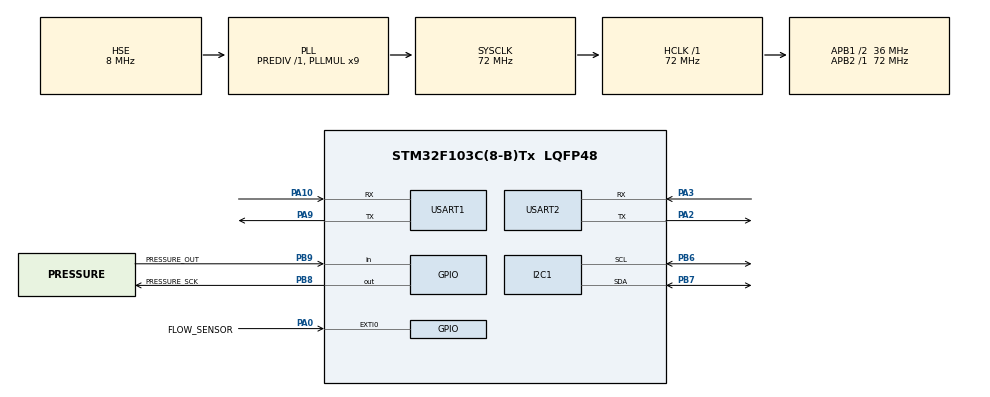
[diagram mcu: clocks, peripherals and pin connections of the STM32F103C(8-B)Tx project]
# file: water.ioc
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Mcu.Family=STM32F1
Mcu.Name=STM32F103C(8-B)Tx
Mcu.Package=LQFP48
NVIC.PriorityGroup=NVIC_PRIORITYGROUP_4
PA0-WKUP.GPIO_Label=FLOW_SENSOR
PA0-WKUP.GPIO_ModeDefaultEXTI=GPIO_MODE_IT_FALLING
PA0-WKUP.GPIO_PuPd=GPIO_PULLUP
PA0-WKUP.Signal=GPXTI0
PA1.Signal=ADCx_IN1
PA10.Mode=Asynchronous
PA10.Signal=USART1_RX
PA13.Mode=Serial_Wire
PA13.Signal=SYS_JTMS-SWDIO
PA14.Mode=Serial_Wire
PA14.Signal=SYS_JTCK-SWCLK
PA2.Mode=Asynchronous
PA2.Signal=USART2_TX
PA3.Mode=Asynchronous
PA3.Signal=USART2_RX
PA9.Mode=Asynchronous
PA9.Signal=USART1_TX
PB8.GPIO_Label=PRESSURE_SCK
PB8.GPIO_Speed=GPIO_SPEED_FREQ_LOW
PB8.PinState=GPIO_PIN_RESET
PB8.Signal=GPIO_Output
PB9.GPIO_Label=PRESSURE_OUT
PB9.GPIO_PuPd=GPIO_NOPULL
PB9.Signal=GPIO_Input
PB6.Mode=I2C
PB6.Signal=I2C1_SCL
PB7.Mode=I2C
PB7.Signal=I2C1_SDA
PC14-OSC32_IN.Mode=LSE-External-Oscillator
PC14-OSC32_IN.Signal=RCC_OSC32_IN
PC15-OSC32_OUT.Mode=LSE-External-Oscillator
PC15-OSC32_OUT.Signal=RCC_OSC32_OUT
PD0-OSC_IN.Mode=HSE-External-Oscillator
PD0-OSC_IN.Signal=RCC_OSC_IN
PD1-OSC_OUT.Mode=HSE-External-Oscillator
PD1-OSC_OUT.Signal=RCC_OSC_OUT
ProjectManager.HeapSize=0x200
ProjectManager.StackSize=0x400
ProjectManager.TargetToolchain=MDK-ARM V5.32
RCC.AHBFreq_Value=72000000
RCC.APB1CLKDivider=RCC_HCLK_DIV2
RCC.APB1Freq_Value=36000000
RCC.APB1TimFreq_Value=72000000
RCC.APB2Freq_Value=72000000
RCC.APB2TimFreq_Value=72000000
RCC.HCLKFreq_Value=72000000
RCC.PLLMUL=RCC_PLL_MUL9
RCC.PLLSourceVirtual=RCC_PLLSOURCE_HSE
RCC.SYSCLKFreq_VALUE=72000000
RCC.SYSCLKSource=RCC_SYSCLKSOURCE_PLLCLK
RCC.USBFreq_Value=72000000
USART1.VirtualMode=VM_ASYNC
USART2.VirtualMode=VM_ASYNC
board=custom

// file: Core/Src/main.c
/* USER CODE BEGIN Header */
/**
  ******************************************************************************
  * @file           : main.c
  * @brief          : Main program body
  ******************************************************************************
  * @attention
  *
  * Copyright (c) 2026 STMicroelectronics.
  * All rights reserved.
  *
  * This software is licensed under terms that can be found in the LICENSE file
  * in the root directory of this software component.
  * If no LICENSE file comes with this software, it is provided AS-IS.
  *
  ******************************************************************************
  */
/* USER CODE END Header */
#include "main.h"
#include "i2c.h"
#include "usart.h"
#include "gpio.h"
#include "Inf_HX710.h"

/* USER CODE BEGIN Includes */
#include <stdarg.h>
#include <stdio.h>
#include <string.h>
#include <stdlib.h>

/* USER CODE END Includes */

/* USER CODE BEGIN PTD */
typedef struct
{
  uint8_t online;
  uint8_t who_am_i;
  int16_t accel_x;
  int16_t accel_y;
  int16_t accel_z;
  int16_t gyro_x;
  int16_t gyro_y;
  int16_t gyro_z;
  int16_t temperature_raw;
} mpu6050_data_t;

/* USER CODE END PTD */

/* USER CODE BEGIN PD */
#define DEBUG_UART_TIMEOUT_MS      100U
#define MPU6050_I2C_ADDR_LOW       (0x68U << 1)
#define MPU6050_I2C_ADDR_HIGH      (0x69U << 1)
#define MPU6050_REG_WHO_AM_I       0x75U
#define MPU6050_REG_PWR_MGMT_1     0x6BU
#define MPU6050_REG_ACCEL_XOUT_H   0x3BU
#define SENSOR_PRINT_PERIOD_MS     1000U
#define LORA_RX_BUFFER_SIZE        64U
#define TDS_K_VALUE                1.0f
#define LORA_TX_TIMEOUT_MS         200U
#define FLOW_PULSES_PER_LITER      450.0f
#define HX710_INVALID_STREAK_LIMIT  3U
#define PRESSURE_ENABLE_BOOT_ZERO   1U
#define PRESSURE_ENABLE_RUNTIME_ZERO 1U
#define PRESSURE_BOOT_ZERO_SAMPLES  8U
#define PRESSURE_FIXED_ZERO_OFFSET  0L
/*
 * Bring-up scale only. Keep this as an approximate factor until the hardware
 * path is stable, then tune with measured water height.
 */
#define PRESSURE_LEVEL_CM_PER_COUNT 0.00025f

/* USER CODE END PD */

/* USER CODE BEGIN PV */
static uint8_t s_mpu6050_online = 0U;
static uint16_t s_mpu6050_addr = MPU6050_I2C_ADDR_LOW;
static uint8_t s_mpu6050_who_am_i = 0U;
static uint32_t s_mpu6050_last_error = 0U;
static char s_lora_line[LORA_RX_BUFFER_SIZE];
static uint8_t s_lora_line_len = 0U;
static volatile uint32_t s_flow_pulse_count = 0U;
static uint32_t s_flow_last_sample_pulse_count = 0U;
static float s_total_flow_l = 0.0f;
static float s_instant_flow_lpm = 0.0f;
static int32_t s_pressure_last_valid_raw = PRESSURE_FIXED_ZERO_OFFSET;
static uint8_t s_pressure_last_valid_ready = 0U;
static uint8_t s_pressure_invalid_streak = 0U;
static int32_t s_pressure_zero_offset = PRESSURE_FIXED_ZERO_OFFSET;
static uint8_t s_pressure_zero_valid = 0U;
/* USER CODE END PV */

void SystemClock_Config(void);
/* USER CODE BEGIN PFP */
static void debug_printf(const char *fmt, ...);
static void adc1_init(void);
static uint16_t adc1_read_channel(uint32_t channel);
static uint32_t adc_to_millivolts(uint16_t raw);
static float tds_voltage_to_ppm(float voltage, float temperature_celsius);
static void i2c_scan_bus(void);
static HAL_StatusTypeDef mpu6050_write_byte(uint16_t dev_addr, uint8_t reg, uint8_t value);
static HAL_StatusTypeDef mpu6050_read_bytes(uint16_t dev_addr, uint8_t reg, uint8_t *data, uint16_t size);
static uint8_t mpu6050_init(void);
static uint8_t mpu6050_read_data(mpu6050_data_t *data);
static uint8_t pressure_read_raw(int32_t *raw_value);
static uint8_t pressure_capture_zero(void);
static float pressure_raw_to_water_level_cm(int32_t raw_value);
static void pressure_set_zero_offset(int32_t raw_value, const char *source);
static int16_t clamp_to_i16(int32_t value);
static float clamp_non_negative(float value);
static int32_t estimate_pitch_angle(const mpu6050_data_t *data);
static int32_t estimate_roll_angle(const mpu6050_data_t *data);
static int32_t estimate_yaw_angle(const mpu6050_data_t *data);
static float flow_pulses_to_liters(uint32_t pulses);
static void flow_sensor_update(uint32_t elapsed_ms);
static void lora_send_packet_line(float water_level, float tds_value,
                                  float total_flow, float instant_flow,
                                  float pitch_angle, float roll_angle, float yaw_angle);
static void lora_poll_and_log(void);

/* USER CODE END PFP */

/* USER CODE BEGIN 0 */
static void debug_printf(const char *fmt, ...)
{
  char buffer[256];
  va_list args;
  va_start(args, fmt);
  int length = vsnprintf(buffer, sizeof(buffer), fmt, args);
  va_end(args);

  if (length <= 0) {
    return;
  }

  if (length >= (int)sizeof(buffer)) {
    length = (int)sizeof(buffer) - 1;
  }

  HAL_UART_Transmit(&huart1, (uint8_t *)buffer, (uint16_t)length, DEBUG_UART_TIMEOUT_MS);
}

static void adc1_init(void)
{
  __HAL_RCC_ADC1_CLK_ENABLE();

  ADC1->CR1 = 0U;
  ADC1->CR2 = 0U;
  ADC1->SMPR2 = ADC_SMPR2_SMP0 | ADC_SMPR2_SMP1;

  MODIFY_REG(RCC->CFGR, RCC_CFGR_ADCPRE, RCC_CFGR_ADCPRE_DIV6);

  ADC1->CR2 |= ADC_CR2_ADON;
  HAL_Delay(1);

  ADC1->CR2 |= ADC_CR2_RSTCAL;
  while ((ADC1->CR2 & ADC_CR2_RSTCAL) != 0U) {
  }

  ADC1->CR2 |= ADC_CR2_CAL;
  while ((ADC1->CR2 & ADC_CR2_CAL) != 0U) {
  }
}

static uint16_t adc1_read_channel(uint32_t channel)
{
  ADC1->SQR1 = 0U;
  ADC1->SQR2 = 0U;
  ADC1->SQR3 = channel;
  ADC1->SR = 0U;
  ADC1->CR2 |= ADC_CR2_ADON;
  ADC1->CR2 |= ADC_CR2_SWSTART;

  while ((ADC1->SR & ADC_SR_EOC) == 0U) {
  }

  return (uint16_t)ADC1->DR;
}

static uint32_t adc_to_millivolts(uint16_t raw)
{
  return ((uint32_t)raw * 3300U) / 4095U;
}

static float tds_voltage_to_ppm(float voltage, float temperature_celsius)
{
  float compensation_coefficient = 1.0f + 0.02f * (temperature_celsius - 25.0f);
  float compensation_voltage = voltage / compensation_coefficient;
  float tds_value = (133.42f * compensation_voltage * compensation_voltage * compensation_voltage
                   - 255.86f * compensation_voltage * compensation_voltage
                   + 857.39f * compensation_voltage) * 0.5f;
  return tds_value * TDS_K_VALUE;
}

static void i2c_scan_bus(void)
{
  debug_printf("[I2C] scan start\r\n");
  for (uint8_t addr = 0x08U; addr < 0x78U; ++addr) {
    if (HAL_I2C_IsDeviceReady(&hi2c1, (uint16_t)(addr << 1), 2, 20) == HAL_OK) {
      debug_printf("[I2C] found 0x%02X\r\n", addr);
    }
  }
  debug_printf("[I2C] scan end\r\n");
}

static HAL_StatusTypeDef mpu6050_write_byte(uint16_t dev_addr, uint8_t reg, uint8_t value)
{
  HAL_StatusTypeDef status = HAL_I2C_Mem_Write(&hi2c1, dev_addr, reg, I2C_MEMADD_SIZE_8BIT, &value, 1, 100);
  s_mpu6050_last_error = HAL_I2C_GetError(&hi2c1);
  return status;
}

static HAL_StatusTypeDef mpu6050_read_bytes(uint16_t dev_addr, uint8_t reg, uint8_t *data, uint16_t size)
{
  HAL_StatusTypeDef status = HAL_I2C_Mem_Read(&hi2c1, dev_addr, reg, I2C_MEMADD_SIZE_8BIT, data, size, 100);
  s_mpu6050_last_error = HAL_I2C_GetError(&hi2c1);
  return status;
}

static uint8_t mpu6050_init(void)
{
  uint8_t who_am_i = 0U;
  const uint16_t candidate_addrs[2] = {MPU6050_I2C_ADDR_LOW, MPU6050_I2C_ADDR_HIGH};

  for (uint8_t i = 0U; i < 2U; ++i) {
    uint16_t dev_addr = candidate_addrs[i];

    if (HAL_I2C_IsDeviceReady(&hi2c1, dev_addr, 2, 50) != HAL_OK) {
      s_mpu6050_last_error = HAL_I2C_GetError(&hi2c1);
      continue;
    }

    if (mpu6050_read_bytes(dev_addr, MPU6050_REG_WHO_AM_I, &who_am_i, 1) != HAL_OK) {
      continue;
    }

    s_mpu6050_addr = dev_addr;
    s_mpu6050_who_am_i = who_am_i;

    if (mpu6050_write_byte(dev_addr, MPU6050_REG_PWR_MGMT_1, 0x00U) != HAL_OK) {
      continue;
    }

    HAL_Delay(50);

    return 1U;
  }

  return 0U;
}

static uint8_t mpu6050_read_data(mpu6050_data_t *data)
{
  uint8_t raw_data[14];

  if (mpu6050_read_bytes(s_mpu6050_addr, MPU6050_REG_ACCEL_XOUT_H, raw_data, sizeof(raw_data)) != HAL_OK) {
    return 0U;
  }

  data->online = 1U;
  data->who_am_i = s_mpu6050_who_am_i;
  data->accel_x = (int16_t)((raw_data[0] << 8) | raw_data[1]);
  data->accel_y = (int16_t)((raw_data[2] << 8) | raw_data[3]);
  data->accel_z = (int16_t)((raw_data[4] << 8) | raw_data[5]);
  data->temperature_raw = (int16_t)((raw_data[6] << 8) | raw_data[7]);
  data->gyro_x = (int16_t)((raw_data[8] << 8) | raw_data[9]);
  data->gyro_y = (int16_t)((raw_data[10] << 8) | raw_data[11]);
  data->gyro_z = (int16_t)((raw_data[12] << 8) | raw_data[13]);

  return 1U;
}

static uint8_t pressure_read_raw(int32_t *raw_value)
{
  if (Inf_HX710_ReadRaw(raw_value)) {
    s_pressure_last_valid_raw = *raw_value;
    s_pressure_last_valid_ready = 1U;
    s_pressure_invalid_streak = 0U;
    return 1U;
  }

  if (s_pressure_invalid_streak < 0xFFU) {
    s_pressure_invalid_streak++;
  }

  if (s_pressure_last_valid_ready && s_pressure_invalid_streak < HX710_INVALID_STREAK_LIMIT) {
    debug_printf("[PRESSURE] read timeout, reuse last raw=%ld streak=%u\r\n",
                 (long)s_pressure_last_valid_raw,
                 (unsigned int)s_pressure_invalid_streak);
    *raw_value = s_pressure_last_valid_raw;
    return 1U;
  }

  return 0U;
}

static uint8_t pressure_capture_zero(void)
{
  int64_t sum = 0;
  uint8_t success_count = 0U;
  int32_t sample = 0;

  for (uint8_t i = 0U; i < PRESSURE_BOOT_ZERO_SAMPLES; ++i) {
    if (!pressure_read_raw(&sample)) {
      break;
    }
    sum += sample;
    success_count++;
  }

  if (success_count == 0U) {
    s_pressure_zero_valid = 0U;
    return 0U;
  }

  pressure_set_zero_offset((int32_t)(sum / (int64_t)success_count), "boot");
  debug_printf("[PRESSURE] boot zero samples=%u scale=%.6f cm/count\r\n",
               (unsigned int)success_count,
               (double)PRESSURE_LEVEL_CM_PER_COUNT);

  return 1U;
}

static void pressure_set_zero_offset(int32_t raw_value, const char *source)
{
  s_pressure_zero_offset = raw_value;
  s_pressure_zero_valid = 1U;

  debug_printf("[PRESSURE] %s zero captured raw=%ld\r\n",
               source,
               (long)s_pressure_zero_offset);
}

static float pressure_raw_to_water_level_cm(int32_t raw_value)
{
  int32_t baseline = s_pressure_zero_valid ? s_pressure_zero_offset : PRESSURE_FIXED_ZERO_OFFSET;
  float corrected_counts = (float)(raw_value - baseline);
  return clamp_non_negative(corrected_counts * PRESSURE_LEVEL_CM_PER_COUNT);
}

static int16_t clamp_to_i16(int32_t value)
{
  if (value > 32767) {
    return 32767;
  }
  if (value < -32768) {
    return -32768;
  }
  return (int16_t)value;
}

static float clamp_non_negative(float value)
{
  return value < 0.0f ? 0.0f : value;
}

static int32_t estimate_pitch_angle(const mpu6050_data_t *data)
{
  return (int32_t)(clamp_to_i16(data->accel_x) / 182);
}

static int32_t estimate_roll_angle(const mpu6050_data_t *data)
{
  return (int32_t)(clamp_to_i16(data->accel_y) / 182);
}

static int32_t estimate_yaw_angle(const mpu6050_data_t *data)
{
  return (int32_t)(clamp_to_i16(data->gyro_z) / 16);
}

static float flow_pulses_to_liters(uint32_t pulses)
{
  return (float)pulses / FLOW_PULSES_PER_LITER;
}

static void flow_sensor_update(uint32_t elapsed_ms)
{
  uint32_t total_pulses = s_flow_pulse_count;
  uint32_t delta_pulses = total_pulses - s_flow_last_sample_pulse_count;
  float elapsed_seconds = (float)elapsed_ms / 1000.0f;

  s_flow_last_sample_pulse_count = total_pulses;
  s_total_flow_l = flow_pulses_to_liters(total_pulses);

  if (elapsed_seconds > 0.0f) {
    s_instant_flow_lpm = (flow_pulses_to_liters(delta_pulses) / elapsed_seconds) * 60.0f;
  } else {
    s_instant_flow_lpm = 0.0f;
  }
}

static void lora_send_packet_line(float water_level, float tds_value,
                                  float total_flow, float instant_flow,
                                  float pitch_angle, float roll_angle, float yaw_angle)
{
  char packet[192];
  int length = snprintf(packet, sizeof(packet),
                        "water_level=%.2f,tds=%.2f,total_flow=%.6f,instant_flow=%.6f,pitch=%.2f,roll=%.2f,yaw=%.2f\r\n",
                        (double)water_level, (double)tds_value,
                        (double)total_flow, (double)instant_flow,
                        (double)pitch_angle, (double)roll_angle, (double)yaw_angle);

  if (length <= 0) {
    return;
  }

  if (length >= (int)sizeof(packet)) {
    length = (int)sizeof(packet) - 1;
  }

  HAL_UART_Transmit(&huart2, (uint8_t *)packet, (uint16_t)length, LORA_TX_TIMEOUT_MS);
  debug_printf("[LORA-TX] %s", packet);
}

static void lora_poll_and_log(void)
{
  uint8_t byte = 0U;

  while (HAL_UART_Receive(&huart2, &byte, 1, 2) == HAL_OK) {
    if (byte == '\r') {
      continue;
    }

    if (byte == '\n') {
      if (s_lora_line_len > 0U) {
        s_lora_line[s_lora_line_len] = '\0';
        debug_printf("[LORA] RX=\"%s\"\r\n", s_lora_line);
        s_lora_line_len = 0U;
      }
      continue;
    }

    if (s_lora_line_len < (LORA_RX_BUFFER_SIZE - 1U)) {
      s_lora_line[s_lora_line_len++] = (char)byte;
    } else {
      s_lora_line[s_lora_line_len] = '\0';
      debug_printf("[LORA] line too long, partial=\"%s\"\r\n", s_lora_line);
      s_lora_line_len = 0U;
    }
  }
}

/* USER CODE END 0 */

int main(void)
{

  /* MCU Configuration--------------------------------------------------------*/

  /* Reset of all peripherals, Initializes the Flash interface and the Systick. */
  HAL_Init();

  /* Configure the system clock */
  SystemClock_Config();

  /* Initialize all configured peripherals */
  MX_GPIO_Init();
  MX_I2C1_Init();
  MX_USART1_UART_Init();
  MX_USART2_UART_Init();
  /* USER CODE BEGIN 2 */
  adc1_init();
  i2c_scan_bus();
  s_mpu6050_online = mpu6050_init();
  Inf_HX710_Init();
#if PRESSURE_ENABLE_BOOT_ZERO
  if (!pressure_capture_zero()) {
    debug_printf("[PRESSURE] boot zero capture failed, using fixed offset=%ld\r\n",
                 (long)PRESSURE_FIXED_ZERO_OFFSET);
  }
#endif

  debug_printf("\r\nwater board boot\r\n");
  debug_printf("USART1=115200 for debug, USART2=9600 for LoRa\r\n");
  if (s_mpu6050_online) {
    debug_printf("IMU: online addr=0x%02X who_am_i=0x%02X\r\n",
                 (unsigned int)(s_mpu6050_addr >> 1),
                 (unsigned int)s_mpu6050_who_am_i);
  } else {
    debug_printf("IMU: not found err=0x%08lX\r\n", (unsigned long)s_mpu6050_last_error);
  }

  /* USER CODE END 2 */

  /* Infinite loop */
  while (1)
  {

    /* USER CODE BEGIN 3 */
    static uint32_t last_print_tick = 0U;
    uint32_t now = HAL_GetTick();

    lora_poll_and_log();

    if ((now - last_print_tick) >= SENSOR_PRINT_PERIOD_MS) {
      uint32_t elapsed_ms = now - last_print_tick;
      uint16_t pa1_raw = adc1_read_channel(1U);
      uint32_t pa1_mv = adc_to_millivolts(pa1_raw);
      mpu6050_data_t mpu = {0};
      int32_t pressure_raw = 0;
      int32_t pressure_delta = 0;
      uint8_t pressure_ready = pressure_read_raw(&pressure_raw);
#if PRESSURE_ENABLE_RUNTIME_ZERO
      if (pressure_ready && !s_pressure_zero_valid) {
        pressure_set_zero_offset(pressure_raw, "runtime");
      }
#endif
      uint8_t mpu_ready = s_mpu6050_online ? mpu6050_read_data(&mpu) : 0U;
      float water_temperature_c = 25.0f;
      float tds_voltage = (float)pa1_mv / 1000.0f;
      float tds_ppm = tds_voltage_to_ppm(tds_voltage, water_temperature_c);
      float pitch_angle = mpu_ready ? (float)estimate_pitch_angle(&mpu) : 0.0f;
      float roll_angle = mpu_ready ? (float)estimate_roll_angle(&mpu) : 0.0f;
      float yaw_angle = mpu_ready ? (float)estimate_yaw_angle(&mpu) : 0.0f;
      pressure_delta = pressure_ready ? (pressure_raw - (s_pressure_zero_valid ? s_pressure_zero_offset : PRESSURE_FIXED_ZERO_OFFSET)) : 0;
      float water_level = pressure_ready ? pressure_raw_to_water_level_cm(pressure_raw) : 0.0f;
      float tds_value = tds_ppm;
      flow_sensor_update(elapsed_ms);

      debug_printf("[SENSOR] t=%lu ms FLOW_PULSE=%lu FLOW_TOTAL=%.3f L FLOW_INSTANT=%.3f L/min TDS_AO=%u (%lu mV, %.1f ppm@25C) PRESS_OUT=%u PRESS_READY=%u PRESS_RAW=%ld PRESS_ZERO_VALID=%u PRESS_ZERO=%ld PRESS_DELTA=%ld WATER_LEVEL=%.2f cm\r\n",
                   (unsigned long)now,
                   (unsigned long)s_flow_pulse_count,
                   (double)s_total_flow_l,
                   (double)s_instant_flow_lpm,
                   (unsigned int)pa1_raw,
                   (unsigned long)pa1_mv,
                   (double)tds_ppm,
                   (unsigned int)(HAL_GPIO_ReadPin(PRESSURE_OUT_GPIO_Port, PRESSURE_OUT_Pin) == GPIO_PIN_SET),
                   (unsigned int)pressure_ready,
                   (long)pressure_raw,
                   (unsigned int)s_pressure_zero_valid,
                   (long)(s_pressure_zero_valid ? s_pressure_zero_offset : PRESSURE_FIXED_ZERO_OFFSET),
                   (long)pressure_delta,
                   (double)water_level);

      if (mpu_ready) {
        debug_printf("[MPU6050] addr=0x%02X who=0x%02X AX=%d AY=%d AZ=%d GX=%d GY=%d GZ=%d TEMP_RAW=%d\r\n",
                     (unsigned int)(s_mpu6050_addr >> 1),
                     (unsigned int)mpu.who_am_i,
                     mpu.accel_x, mpu.accel_y, mpu.accel_z,
                     mpu.gyro_x, mpu.gyro_y, mpu.gyro_z,
                     mpu.temperature_raw);
      } else {
        debug_printf("[MPU6050] read failed addr=0x%02X err=0x%08lX\r\n",
                     (unsigned int)(s_mpu6050_addr >> 1),
                     (unsigned long)s_mpu6050_last_error);
      }

      lora_send_packet_line(water_level, tds_value, s_total_flow_l, s_instant_flow_lpm,
                            pitch_angle, roll_angle, yaw_angle);

      last_print_tick = now;
    }
  }
  /* USER CODE END 3 */
}

void SystemClock_Config(void)
{
  RCC_OscInitTypeDef RCC_OscInitStruct = {0};
  RCC_ClkInitTypeDef RCC_ClkInitStruct = {0};

  /** Initializes the RCC Oscillators according to the specified parameters
  * in the RCC_OscInitTypeDef structure.
  */
  RCC_OscInitStruct.OscillatorType = RCC_OSCILLATORTYPE_HSE;
  RCC_OscInitStruct.HSEState = RCC_HSE_ON;
  RCC_OscInitStruct.HSEPredivValue = RCC_HSE_PREDIV_DIV1;
  RCC_OscInitStruct.HSIState = RCC_HSI_ON;
  RCC_OscInitStruct.PLL.PLLState = RCC_PLL_ON;
  RCC_OscInitStruct.PLL.PLLSource = RCC_PLLSOURCE_HSE;
  RCC_OscInitStruct.PLL.PLLMUL = RCC_PLL_MUL9;
  if (HAL_RCC_OscConfig(&RCC_OscInitStruct) != HAL_OK)
  {
    Error_Handler();
  }

  /** Initializes the CPU, AHB and APB buses clocks
  */
  RCC_ClkInitStruct.ClockType = RCC_CLOCKTYPE_HCLK|RCC_CLOCKTYPE_SYSCLK
                              |RCC_CLOCKTYPE_PCLK1|RCC_CLOCKTYPE_PCLK2;
  RCC_ClkInitStruct.SYSCLKSource = RCC_SYSCLKSOURCE_PLLCLK;
  RCC_ClkInitStruct.AHBCLKDivider = RCC_SYSCLK_DIV1;
  RCC_ClkInitStruct.APB1CLKDivider = RCC_HCLK_DIV2;
  RCC_ClkInitStruct.APB2CLKDivider = RCC_HCLK_DIV1;

  if (HAL_RCC_ClockConfig(&RCC_ClkInitStruct, FLASH_LATENCY_2) != HAL_OK)
  {
    Error_Handler();
  }
}

/* USER CODE BEGIN 4 */
void HAL_GPIO_EXTI_Callback(uint16_t GPIO_Pin)
{
  if (GPIO_Pin == FLOW_SENSOR_Pin) {
    s_flow_pulse_count++;
  }
}

/* USER CODE END 4 */

void Error_Handler(void)
{
  __disable_irq();
  while (1)
  {
  }
}
